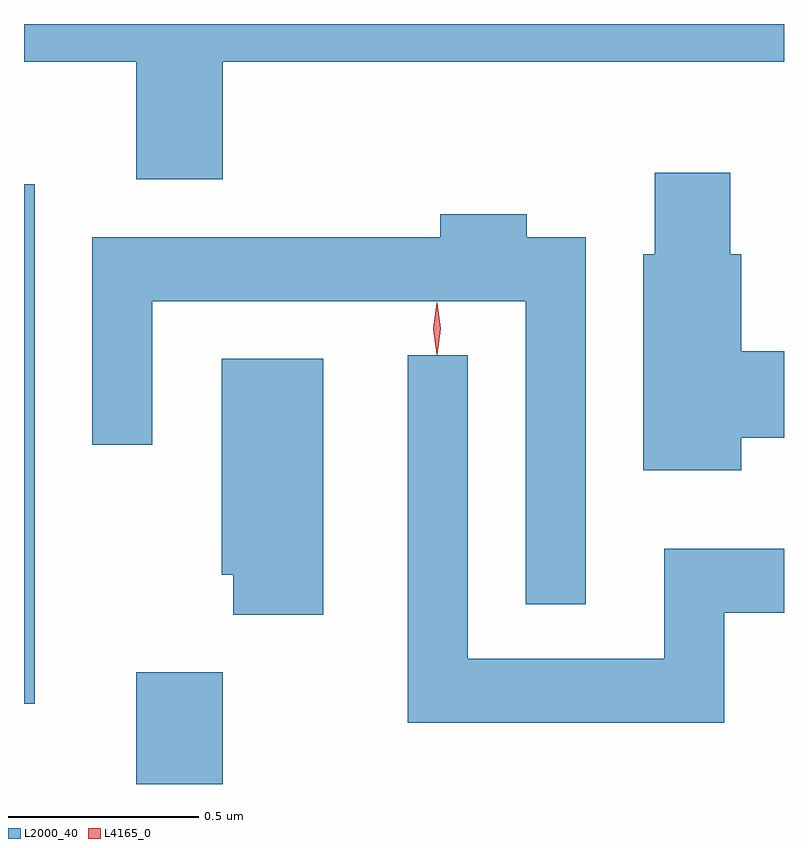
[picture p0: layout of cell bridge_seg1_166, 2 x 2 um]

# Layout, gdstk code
import gdstk
lib = gdstk.Library(unit=1e-6, precision=1e-09)
def R(c, l, rs):  # rectangles x0, y0, x1, y1
    for r in rs: c.add(gdstk.rectangle(r[:2], r[2:], *l))
def P(c, l, *ps):  # polygons
    for p in ps: c.add(gdstk.Polygon(p, *l))
L2000_40 = (2000, 40)
L4165_0 = (4165, 0)

bridge_seg1_166 = lib.new_cell('bridge_seg1_166')
R(bridge_seg1_166, L2000_40, [(781.881,946.515,782.109,946.809), (781.586,946.726,781.614,948.093)])
P(bridge_seg1_166, L2000_40, [(782.109,948.416),(783.586,948.416),(783.586,948.515),(781.586,948.515),(781.586,948.416),(781.881,948.416),(781.881,948.106),(782.109,948.106)],
  [(783.474,947.426),(783.586,947.426),(783.586,947.654),(783.474,947.654),(783.474,947.909),(783.444,947.909),(783.444,948.124),(783.246,948.124),(783.246,947.909),(783.216,947.909),(783.216,947.341),(783.474,947.341)],
  [(783.064,947.954),(782.909,947.954),(782.909,948.014),(782.681,948.014),(782.681,947.954),(781.766,947.954),(781.766,947.408),(781.924,947.408),(781.924,947.786),(782.906,947.786),(782.906,946.988),(783.064,946.988)],
  [(783.429,946.966),(783.586,946.966),(783.586,947.134),(783.271,947.134),(783.271,946.844),(782.754,946.844),(782.754,947.643),(782.596,947.643),(782.596,946.676),(783.429,946.676)],
  [(782.374,947.634),(782.106,947.634),(782.106,947.066),(782.136,947.066),(782.136,946.961),(782.374,946.961)])
P(bridge_seg1_166, L4165_0, [(782.673,947.643),(782.672,947.644),(782.663,947.713),(782.672,947.782),(782.673,947.783),(782.673,947.782),(782.683,947.713),(782.673,947.644)],
  [(782.673,947.647),(782.673,947.647),(782.663,947.714),(782.672,947.78),(782.673,947.78),(782.673,947.78),(782.683,947.714),(782.674,947.647)])

lib.write_gds('bridge_seg1_166.gds')
